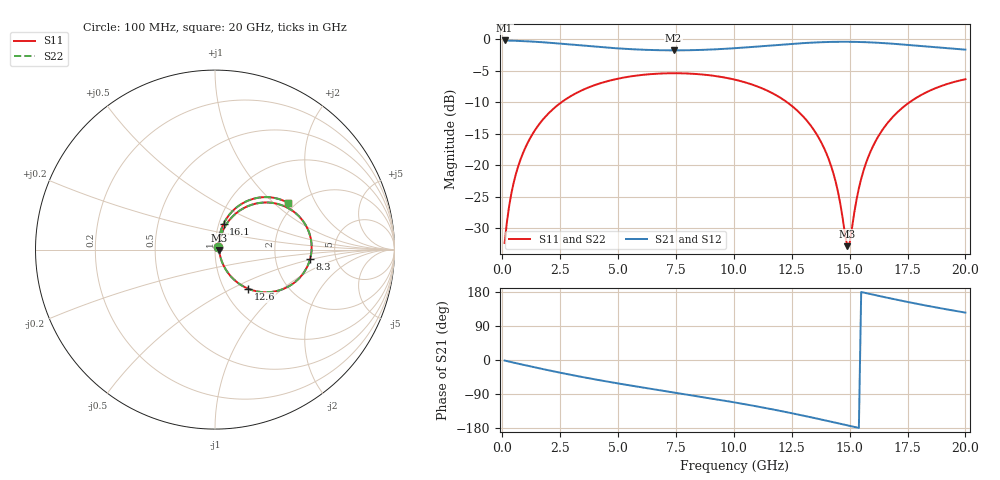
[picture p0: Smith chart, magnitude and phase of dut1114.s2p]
! Touchstone file exported from HFSS 2026.1.0
!  File:  C:/ffzhzh/LocalFiles/Ansys_Project_Files/temp_train_TSV_RDL_1114_1783305420_39728.aedt
!  Generated:  10:48:25 AM Jul  6, 2026
!  Design:  TSV_RDL
!  Project:  temp_train_TSV_RDL_1114_1783305420_39728
! Variables:
!  h_bsmrdl = 5.03um
!  h_ox = 20um
!  h_rdl = 5um
!  h_sub = 52.45um
!  h_tmrdl = 2.87um
!  h_tsv = 52.45um
!  h_via = 3um
!  l_bsmrdl = 547.08um
!  l_sub = 4111.62um
!  l_tmrdl = 484.85um
!  m_sub = 200um
!  pitch = 49.57um
!  r_tsv = 9.39um
!  s_tmrdl = 10um
!  w_bsmrdl = 25.82um
!  w_sub = 500um
!  w_tmrdl = 17.84um
!  x_tsv_center1 = 493.77um
!  x_tsv_center2 = 1066.67um
!  x_tsv_center3 = 1569.36um
!  x_tsv_center4 = 2142.26um
!  x_tsv_center5 = 2644.95um
!  x_tsv_center6 = 3217.85um
# GHz S MA R 50.000000
! Terminal data exported
! Port[1] = TM_RDL1_1_T1
! Port[2] = TM_RDL5_1_T1
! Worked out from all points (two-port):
!   200 points, 100 MHz to 20 GHz, reference 50 ohm
!   highest |S21| = -0.17 dB at 100 MHz (marker M1); lowest = -1.7 dB at 7.4 GHz (marker M2)
!   |S21| within 3 dB of the highest: start of sweep to end of sweep
!   lowest |S11| = -32.8 dB at 14.9 GHz (marker M3), VSWR 1.05, Z = 52.3 - j0.193 ohm
!   |S11| at or under -10 dB: start of sweep to 2.549 GHz; 12.31 GHz to 17.58 GHz (5.277 GHz wide, 35.3 % of centre)
!   |S22| runs from -32.9 to -5.4 dB; largest |S21 - S12| = 1.6e-14
!   S11 on the Smith chart (normalised r, x): 100 MHz: 1.04, +0.03; 8.3 GHz: 3.20, -0.47; 12.6 GHz: 1.29, -0.61; 16.1 GHz: 1.05, +0.31; 20 GHz: 1.83, +1.24
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0.1  0.02415 36.8  0.9809 -1.5  0.9809 -1.5  0.02415 36.8
! Gamma 0 0 0 0
! Port Impedance 50 0 50 0
0.3  0.04804 60.5  0.9787 -4.3  0.9787 -4.3  0.04804 60.5
0.5  0.07392 66.0  0.9757 -7.1  0.9757 -7.1  0.07392 66.0
1.1  0.1514 66.0  0.9651 -15.3  0.9651 -15.3  0.1514 66.0
2.1  0.2698 56.4  0.9387 -28.5  0.9387 -28.5  0.2698 56.4
3.5  0.3991 41.1  0.8922 -45.5  0.8922 -45.5  0.3991 41.1
6.8  0.5355 8.3  0.8205 -79.8  0.8205 -79.8  0.5355 8.3
7.4  0.5388 2.7  0.8185 -85.6  0.8185 -85.6  0.5388 2.7
8.3  0.5324 -5.7  0.8223 -94.3  0.8223 -94.3  0.5324 -5.7
10.1  0.4764 -23.1  0.8529 -112.6  0.8529 -112.6  0.4764 -23.1
12.6  0.2867 -49.6  0.9243 -141.7  0.9243 -141.7  0.2867 -49.6
13.4  0.1975 -57.7  0.9436 -152.1  0.9436 -152.1  0.1975 -57.7
14.3  0.08624 -61.0  0.9561 -164.2  0.9561 -164.2  0.08622 -61.1
14.6  0.04929 -53.0  0.9576 -168.3  0.9576 -168.3  0.04922 -53.2
14.9  0.02281 -4.6  0.9576 -172.4  0.9576 -172.4  0.0226 -4.8
15  0.02418 26.6  0.9572 -173.8  0.9572 -173.8  0.02397 26.7
15.3  0.0536 65.9  0.9552 -177.9  0.9552 -177.9  0.05349 66.0
15.5  0.07816 71.3  0.9531 179.4  0.9531 179.4  0.07806 71.4
16.1  0.1529 71.6  0.943 171.3  0.943 171.3  0.1528 71.7
16.7  0.2238 66.6  0.9284 163.4  0.9284 163.4  0.2238 66.6
18.1  0.3627 51.9  0.8848 146.0  0.8848 146.0  0.3626 52.0
20  0.4828 32.6  0.8293 125.0  0.8293 125.0  0.4828 32.6
